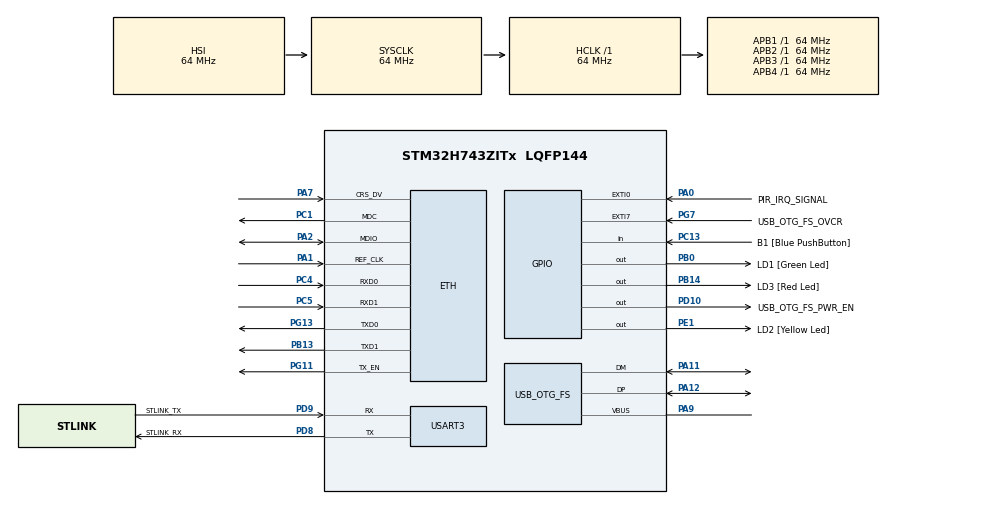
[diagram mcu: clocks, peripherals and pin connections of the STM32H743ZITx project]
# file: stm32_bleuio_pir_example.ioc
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ETH.MediaInterface=HAL_ETH_RMII_MODE
Mcu.Family=STM32H7
Mcu.Name=STM32H743ZITx
Mcu.Package=LQFP144
NVIC.EXTI0_IRQn=true\:0\:0\:false\:false\:true\:true\:true\:true
NVIC.OTG_FS_EP1_IN_IRQn=true\:0\:0\:false\:false\:true\:true\:true\:true
NVIC.OTG_FS_EP1_OUT_IRQn=true\:0\:0\:false\:false\:true\:true\:true\:true
NVIC.OTG_FS_IRQn=true\:0\:0\:false\:false\:true\:true\:true\:true
NVIC.PriorityGroup=NVIC_PRIORITYGROUP_4
NVIC.TIM16_IRQn=true\:0\:0\:false\:false\:true\:true\:true\:true
NVIC.USART3_IRQn=true\:0\:0\:false\:false\:true\:true\:true\:true
PA0.GPIO_Label=PIR_IRQ_SIGNAL
PA0.GPIO_ModeDefaultEXTI=GPIO_MODE_IT_RISING
PA0.GPIO_PuPd=GPIO_PULLDOWN
PA0.Signal=GPXTI0
PA1.Mode=RMII
PA1.Signal=ETH_REF_CLK
PA11.Mode=Host_Only
PA11.Signal=USB_OTG_FS_DM
PA12.Mode=Host_Only
PA12.Signal=USB_OTG_FS_DP
PA2.Mode=RMII
PA2.Signal=ETH_MDIO
PA7.Mode=RMII
PA7.Signal=ETH_CRS_DV
PA8.Signal=USB_OTG_FS_SOF
PA9.Mode=Activate_VBUS
PA9.Signal=USB_OTG_FS_VBUS
PB0.GPIO_Label=LD1 [Green Led]
PB0.Signal=GPIO_Output
PB13.Mode=RMII
PB13.Signal=ETH_TXD1
PB14.GPIO_Label=LD3 [Red Led]
PB14.Signal=GPIO_Output
PC1.Mode=RMII
PC1.Signal=ETH_MDC
PC13.GPIO_Label=B1 [Blue PushButton]
PC13.Signal=GPIO_Input
PC14-OSC32_IN\ (OSC32_IN).Mode=LSE-External-Oscillator
PC14-OSC32_IN\ (OSC32_IN).Signal=RCC_OSC32_IN
PC15-OSC32_OUT\ (OSC32_OUT).Mode=LSE-External-Oscillator
PC15-OSC32_OUT\ (OSC32_OUT).Signal=RCC_OSC32_OUT
PC4.Mode=RMII
PC4.Signal=ETH_RXD0
PC5.Mode=RMII
PC5.Signal=ETH_RXD1
PD10.GPIO_Label=USB_OTG_FS_PWR_EN
PD10.Signal=GPIO_Output
PD8.GPIO_Label=STLINK_RX
PD8.Mode=Asynchronous
PD8.Signal=USART3_TX
PD9.GPIO_Label=STLINK_TX
PD9.Mode=Asynchronous
PD9.Signal=USART3_RX
PE1.GPIO_Label=LD2 [Yellow Led]
PE1.Signal=GPIO_Output
PG11.Mode=RMII
PG11.Signal=ETH_TX_EN
PG13.Mode=RMII
PG13.Signal=ETH_TXD0
PG7.GPIO_Label=USB_OTG_FS_OVCR
PG7.Signal=GPXTI7
PH0-OSC_IN\ (PH0).Mode=HSE-External-Clock-Source
PH0-OSC_IN\ (PH0).Signal=RCC_OSC_IN
PH1-OSC_OUT\ (PH1).Signal=RCC_OSC_OUT
ProjectManager.HeapSize=0x200
ProjectManager.StackSize=0x400
ProjectManager.TargetToolchain=STM32CubeIDE
RCC.ADCFreq_Value=16125000
RCC.APB1Freq_Value=64000000
RCC.APB2Freq_Value=64000000
RCC.APB3Freq_Value=64000000
RCC.APB4Freq_Value=64000000
RCC.CortexFreq_Value=64000000
RCC.DIVM1=1
RCC.DIVN1=24
RCC.DIVQ1=4
RCC.HCLKFreq_Value=64000000
RCC.HSE_VALUE=8000000
RCC.PLLFRACN=0
RCC.PWR_Regulator_Voltage_Scale=PWR_REGULATOR_VOLTAGE_SCALE2
RCC.SYSCLKFreq_VALUE=64000000
RCC.USBFreq_Value=48000000
TIM16.AutoReloadPreload=TIM_AUTORELOAD_PRELOAD_ENABLE
TIM16.Period=10000 -1
TIM16.Prescaler=6400 -1
USART3.VirtualMode-Asynchronous=VM_ASYNC
USB_HOST.BSP.number=1
USB_HOST.USBH_HandleTypeDef-CDC_FS=hUsbHostFS
USB_HOST.VirtualModeFS=Cdc
USB_HOST0.BSP.STBoard=false
USB_HOST0.BSP.api=Unknown
USB_HOST0.BSP.instance=PD10
USB_HOST0.BSP.ip=GPIO
USB_HOST0.BSP.mode=Output
USB_HOST0.BSP.name=Drive_VBUS_FS
USB_HOST0.BSP.solution=PD10
USB_OTG_FS.VirtualMode=Host_Only
USB_OTG_FS.phy_itface=HCD_PHY_EMBEDDED
VP_TIM16_VS_ClockSourceINT.Mode=Enable_Timer
VP_USB_HOST_VS_USB_HOST_CDC_FS.Mode=CDC_FS
board=NUCLEO-H743ZI2

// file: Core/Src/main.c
/* USER CODE BEGIN Header */
/**
  ******************************************************************************
  * @file           : main.c
  * @brief          : Main program body
  ******************************************************************************
  * @attention
  *
  * <h2><center>&copy; Copyright (c) 2021 STMicroelectronics.
  * All rights reserved.</center></h2>
  *
  * This software component is licensed by ST under BSD 3-Clause license,
  * the "License"; You may not use this file except in compliance with the
  * License. You may obtain a copy of the License at:
  *                        opensource.org/licenses/BSD-3-Clause
  *
  ******************************************************************************
  */
/* USER CODE END Header */
#include "main.h"
#include "string.h"
#include "usb_host.h"

/* USER CODE BEGIN PTD */
typedef enum {
  UART_RX_0 = 48,
  UART_RX_1,
  UART_RX_2,
  UART_RX_NONE = 0xFF,
}UARTCommandTypeDef;
/* USER CODE END PTD */

/* USER CODE BEGIN PD */
#define RXBUFFERSIZE                     1

#define BLEUIO_NOT_READY_MSG	"\r\nBleuIO not ready yet.\r\n"

// Dongle commands
#define DONGLE_CMD_ATI "ATI\r\n"
#define DONGLE_CMD_AT_ADVSTART "AT+ADVSTART\r\n"
#define DONGLE_CMD_AT_ADVSTOP "AT+ADVSTOP\r\n"
#define DONGLE_CMD_SET_ADV_NAME "AT+ADVRESP=14:09:42:6C:65:75:49:4F:20:50:49:52:20:44:65:74:65:63:74:65:64\r\n"

#define PIR_TIMEOUT_REFRESH		20  // Timeout after PIR triggering before PIR sensor can trigger again
#define ADV_TIMER_REFRESH		25 // How long the advertising will continue. Will refresh every time PIR is triggered.

//  ADV_TIMER_REFRESH should be equal or greater than PIR_TIMEOUT_REFRESH	(ADV_TIMER_REFRESH >= PIR_TIMEOUT_REFRESH)

/* USER CODE END PD */

#if defined ( __ICCARM__ ) /*!< IAR Compiler */

#pragma location=0x30040000
ETH_DMADescTypeDef  DMARxDscrTab[ETH_RX_DESC_CNT]; /* Ethernet Rx DMA Descriptors */
#pragma location=0x30040060
ETH_DMADescTypeDef  DMATxDscrTab[ETH_TX_DESC_CNT]; /* Ethernet Tx DMA Descriptors */
#pragma location=0x30040200
uint8_t Rx_Buff[ETH_RX_DESC_CNT][ETH_MAX_PACKET_SIZE]; /* Ethernet Receive Buffers */

#elif defined ( __CC_ARM )  /* MDK ARM Compiler */

__attribute__((at(0x30040000))) ETH_DMADescTypeDef  DMARxDscrTab[ETH_RX_DESC_CNT]; /* Ethernet Rx DMA Descriptors */
__attribute__((at(0x30040060))) ETH_DMADescTypeDef  DMATxDscrTab[ETH_TX_DESC_CNT]; /* Ethernet Tx DMA Descriptors */
__attribute__((at(0x30040200))) uint8_t Rx_Buff[ETH_RX_DESC_CNT][ETH_MAX_PACKET_SIZE]; /* Ethernet Receive Buffer */

#elif defined ( __GNUC__ ) /* GNU Compiler */

ETH_DMADescTypeDef DMARxDscrTab[ETH_RX_DESC_CNT] __attribute__((section(".RxDecripSection"))); /* Ethernet Rx DMA Descriptors */
ETH_DMADescTypeDef DMATxDscrTab[ETH_TX_DESC_CNT] __attribute__((section(".TxDecripSection")));   /* Ethernet Tx DMA Descriptors */
uint8_t Rx_Buff[ETH_RX_DESC_CNT][ETH_MAX_PACKET_SIZE] __attribute__((section(".RxArraySection"))); /* Ethernet Receive Buffers */

#endif

ETH_TxPacketConfig TxConfig;

ETH_HandleTypeDef heth;

TIM_HandleTypeDef htim16;

UART_HandleTypeDef huart3;

/* USER CODE BEGIN PV */
static char uart_tx_buf[250];
int uart_buf_len;
bool isBleuIOReady;
uint8_t dongle_response[244];
static UARTCommandTypeDef uartStatus;
static uint8_t aRxBuffer[RXBUFFERSIZE];
static int RX_value;

int pirAdvTimer;
int pirActivationTimeout;

bool isAdvertising;
bool isAdvNameSet;
bool pirIRQEnabled;
/* USER CODE END PV */

void SystemClock_Config(void);
static void MX_GPIO_Init(void);
static void MX_ETH_Init(void);
static void MX_USART3_UART_Init(void);
static void MX_TIM16_Init(void);
void MX_USB_HOST_Process(void);

/* USER CODE BEGIN PFP */
void handleUartInput(UARTCommandTypeDef cmd);
void dongle_interpreter(uint8_t * input);
/* USER CODE END PFP */

int main(void)
{

  /* MCU Configuration--------------------------------------------------------*/

  /* Reset of all peripherals, Initializes the Flash interface and the Systick. */
  HAL_Init();

  /* Configure the system clock */
  SystemClock_Config();

  /* Initialize all configured peripherals */
  MX_GPIO_Init();
  MX_ETH_Init();
  MX_USART3_UART_Init();
  MX_USB_HOST_Init();
  MX_TIM16_Init();
  /* USER CODE BEGIN 2 */
  isBleuIOReady = false;
  isAdvertising= false;
  isAdvNameSet= false;
  pirIRQEnabled = true;
  pirAdvTimer = 0;
  pirActivationTimeout = 0;
  uartStatus = UART_RX_NONE;

  // Starts uart recieve interrupt mode
  HAL_UART_Receive_IT(&huart3, (uint8_t *)aRxBuffer, RXBUFFERSIZE);

  // Turns on all LEDs on start up
  HAL_GPIO_WritePin(GPIOB, GPIO_PIN_0, GPIO_PIN_SET);
  HAL_GPIO_WritePin(GPIOE, GPIO_PIN_1, GPIO_PIN_SET);
  HAL_GPIO_WritePin(GPIOB, GPIO_PIN_14, GPIO_PIN_SET);
  HAL_Delay(1000);

  // Turns off all LEDs except Red
  HAL_GPIO_WritePin(GPIOB, GPIO_PIN_0, GPIO_PIN_RESET);
  HAL_GPIO_WritePin(GPIOE, GPIO_PIN_1, GPIO_PIN_RESET);

  // Sends welcome message to uart
  uart_buf_len = sprintf(uart_tx_buf, "\r\nWelcome to STM32 BleuIO PIR Sensor Example!\r\n\r\n\r\nWaiting for BleuIO...");
  HAL_UART_Transmit(&huart3, (uint8_t *)uart_tx_buf, uart_buf_len, HAL_MAX_DELAY);
  HAL_TIM_Base_Start_IT(&htim16);
  /* USER CODE END 2 */

  /* Infinite loop */
  while (1)
  {
    MX_USB_HOST_Process();

    /* USER CODE BEGIN 3 */
    // Simple handler for uart input
    handleUartInput(uartStatus);
//    // Inteprets the dongle data
    dongle_interpreter(dongle_response);

// 	Setting Advertising name
    if(isBleuIOReady && !isAdvNameSet)
    {
    	// Setting name in response data to 'BleuIO PIR Detected'
    	writeToDongle((uint8_t*)DONGLE_CMD_SET_ADV_NAME);
    	HAL_Delay(200);
    	isAdvNameSet = true;
		uart_buf_len = sprintf(uart_tx_buf, "\r\n\r\nDevice name set.\r\nBleuIO will now advertise if PIR detect movement!\r\n\r\n\r\n");
		HAL_UART_Transmit(&huart3, (uint8_t *)uart_tx_buf, uart_buf_len, HAL_MAX_DELAY);
    }

//     Stops advertising if advertising and pirAdvTimer has run out.
    if(isAdvertising && pirAdvTimer < 0)
    {
    	writeToDongle((uint8_t*)DONGLE_CMD_AT_ADVSTOP);
    	HAL_Delay(200);
    	isAdvertising = false;
		uart_buf_len = sprintf(uart_tx_buf, "\r\nNo movement registered for %i seconds. Turning advertising off...\r\n\r\n\r\n", ADV_TIMER_REFRESH - PIR_TIMEOUT_REFRESH);
		HAL_UART_Transmit(&huart3, (uint8_t *)uart_tx_buf, uart_buf_len, HAL_MAX_DELAY);
    }

  }
  /* USER CODE END 3 */
}

void SystemClock_Config(void)
{
  RCC_OscInitTypeDef RCC_OscInitStruct = {0};
  RCC_ClkInitTypeDef RCC_ClkInitStruct = {0};

  /** Supply configuration update enable
  */
  HAL_PWREx_ConfigSupply(PWR_LDO_SUPPLY);
  /** Configure the main internal regulator output voltage
  */
  __HAL_PWR_VOLTAGESCALING_CONFIG(PWR_REGULATOR_VOLTAGE_SCALE2);

  while(!__HAL_PWR_GET_FLAG(PWR_FLAG_VOSRDY)) {}
  /** Initializes the RCC Oscillators according to the specified parameters
  * in the RCC_OscInitTypeDef structure.
  */
  RCC_OscInitStruct.OscillatorType = RCC_OSCILLATORTYPE_HSI|RCC_OSCILLATORTYPE_HSE;
  RCC_OscInitStruct.HSEState = RCC_HSE_BYPASS;
  RCC_OscInitStruct.HSIState = RCC_HSI_DIV1;
  RCC_OscInitStruct.HSICalibrationValue = RCC_HSICALIBRATION_DEFAULT;
  RCC_OscInitStruct.PLL.PLLState = RCC_PLL_ON;
  RCC_OscInitStruct.PLL.PLLSource = RCC_PLLSOURCE_HSE;
  RCC_OscInitStruct.PLL.PLLM = 1;
  RCC_OscInitStruct.PLL.PLLN = 24;
  RCC_OscInitStruct.PLL.PLLP = 2;
  RCC_OscInitStruct.PLL.PLLQ = 4;
  RCC_OscInitStruct.PLL.PLLR = 2;
  RCC_OscInitStruct.PLL.PLLRGE = RCC_PLL1VCIRANGE_3;
  RCC_OscInitStruct.PLL.PLLVCOSEL = RCC_PLL1VCOWIDE;
  RCC_OscInitStruct.PLL.PLLFRACN = 0;
  if (HAL_RCC_OscConfig(&RCC_OscInitStruct) != HAL_OK)
  {
    Error_Handler();
  }
  /** Initializes the CPU, AHB and APB buses clocks
  */
  RCC_ClkInitStruct.ClockType = RCC_CLOCKTYPE_HCLK|RCC_CLOCKTYPE_SYSCLK
                              |RCC_CLOCKTYPE_PCLK1|RCC_CLOCKTYPE_PCLK2
                              |RCC_CLOCKTYPE_D3PCLK1|RCC_CLOCKTYPE_D1PCLK1;
  RCC_ClkInitStruct.SYSCLKSource = RCC_SYSCLKSOURCE_HSI;
  RCC_ClkInitStruct.SYSCLKDivider = RCC_SYSCLK_DIV1;
  RCC_ClkInitStruct.AHBCLKDivider = RCC_HCLK_DIV1;
  RCC_ClkInitStruct.APB3CLKDivider = RCC_APB3_DIV1;
  RCC_ClkInitStruct.APB1CLKDivider = RCC_APB1_DIV1;
  RCC_ClkInitStruct.APB2CLKDivider = RCC_APB2_DIV1;
  RCC_ClkInitStruct.APB4CLKDivider = RCC_APB4_DIV1;

  if (HAL_RCC_ClockConfig(&RCC_ClkInitStruct, FLASH_LATENCY_1) != HAL_OK)
  {
    Error_Handler();
  }
}

static void MX_ETH_Init(void)
{

   static uint8_t MACAddr[6];

  heth.Instance = ETH;
  MACAddr[0] = 0x00;
  MACAddr[1] = 0x80;
  MACAddr[2] = 0xE1;
  MACAddr[3] = 0x00;
  MACAddr[4] = 0x00;
  MACAddr[5] = 0x00;
  heth.Init.MACAddr = &MACAddr[0];
  heth.Init.MediaInterface = HAL_ETH_RMII_MODE;
  heth.Init.TxDesc = DMATxDscrTab;
  heth.Init.RxDesc = DMARxDscrTab;
  heth.Init.RxBuffLen = 1524;

  if (HAL_ETH_Init(&heth) != HAL_OK)
  {
    Error_Handler();
  }

  memset(&TxConfig, 0 , sizeof(ETH_TxPacketConfig));
  TxConfig.Attributes = ETH_TX_PACKETS_FEATURES_CSUM | ETH_TX_PACKETS_FEATURES_CRCPAD;
  TxConfig.ChecksumCtrl = ETH_CHECKSUM_IPHDR_PAYLOAD_INSERT_PHDR_CALC;
  TxConfig.CRCPadCtrl = ETH_CRC_PAD_INSERT;

}

static void MX_TIM16_Init(void)
{

  htim16.Instance = TIM16;
  htim16.Init.Prescaler = 6400 -1;
  htim16.Init.CounterMode = TIM_COUNTERMODE_UP;
  htim16.Init.Period = 10000 -1;
  htim16.Init.ClockDivision = TIM_CLOCKDIVISION_DIV1;
  htim16.Init.RepetitionCounter = 0;
  htim16.Init.AutoReloadPreload = TIM_AUTORELOAD_PRELOAD_ENABLE;
  if (HAL_TIM_Base_Init(&htim16) != HAL_OK)
  {
    Error_Handler();
  }

}

static void MX_USART3_UART_Init(void)
{

  huart3.Instance = USART3;
  huart3.Init.BaudRate = 115200;
  huart3.Init.WordLength = UART_WORDLENGTH_8B;
  huart3.Init.StopBits = UART_STOPBITS_1;
  huart3.Init.Parity = UART_PARITY_NONE;
  huart3.Init.Mode = UART_MODE_TX_RX;
  huart3.Init.HwFlowCtl = UART_HWCONTROL_NONE;
  huart3.Init.OverSampling = UART_OVERSAMPLING_16;
  huart3.Init.OneBitSampling = UART_ONE_BIT_SAMPLE_DISABLE;
  huart3.Init.ClockPrescaler = UART_PRESCALER_DIV1;
  huart3.AdvancedInit.AdvFeatureInit = UART_ADVFEATURE_NO_INIT;
  if (HAL_UART_Init(&huart3) != HAL_OK)
  {
    Error_Handler();
  }
  if (HAL_UARTEx_SetTxFifoThreshold(&huart3, UART_TXFIFO_THRESHOLD_1_8) != HAL_OK)
  {
    Error_Handler();
  }
  if (HAL_UARTEx_SetRxFifoThreshold(&huart3, UART_RXFIFO_THRESHOLD_1_8) != HAL_OK)
  {
    Error_Handler();
  }
  if (HAL_UARTEx_DisableFifoMode(&huart3) != HAL_OK)
  {
    Error_Handler();
  }

}

static void MX_GPIO_Init(void)
{
  GPIO_InitTypeDef GPIO_InitStruct = {0};

  /* GPIO Ports Clock Enable */
  __HAL_RCC_GPIOC_CLK_ENABLE();
  __HAL_RCC_GPIOH_CLK_ENABLE();
  __HAL_RCC_GPIOA_CLK_ENABLE();
  __HAL_RCC_GPIOB_CLK_ENABLE();
  __HAL_RCC_GPIOD_CLK_ENABLE();
  __HAL_RCC_GPIOG_CLK_ENABLE();
  __HAL_RCC_GPIOE_CLK_ENABLE();

  /*Configure GPIO pin Output Level */
  HAL_GPIO_WritePin(GPIOB, LD1_Pin|LD3_Pin, GPIO_PIN_RESET);

  /*Configure GPIO pin Output Level */
  HAL_GPIO_WritePin(USB_OTG_FS_PWR_EN_GPIO_Port, USB_OTG_FS_PWR_EN_Pin, GPIO_PIN_RESET);

  /*Configure GPIO pin Output Level */
  HAL_GPIO_WritePin(LD2_GPIO_Port, LD2_Pin, GPIO_PIN_RESET);

  /*Configure GPIO pin : B1_Pin */
  GPIO_InitStruct.Pin = B1_Pin;
  GPIO_InitStruct.Mode = GPIO_MODE_INPUT;
  GPIO_InitStruct.Pull = GPIO_NOPULL;
  HAL_GPIO_Init(B1_GPIO_Port, &GPIO_InitStruct);

  /*Configure GPIO pin : PIR_IRQ_SIGNAL_Pin */
  GPIO_InitStruct.Pin = PIR_IRQ_SIGNAL_Pin;
  GPIO_InitStruct.Mode = GPIO_MODE_IT_RISING;
  GPIO_InitStruct.Pull = GPIO_PULLDOWN;
  HAL_GPIO_Init(PIR_IRQ_SIGNAL_GPIO_Port, &GPIO_InitStruct);

  /*Configure GPIO pins : LD1_Pin LD3_Pin */
  GPIO_InitStruct.Pin = LD1_Pin|LD3_Pin;
  GPIO_InitStruct.Mode = GPIO_MODE_OUTPUT_PP;
  GPIO_InitStruct.Pull = GPIO_NOPULL;
  GPIO_InitStruct.Speed = GPIO_SPEED_FREQ_LOW;
  HAL_GPIO_Init(GPIOB, &GPIO_InitStruct);

  /*Configure GPIO pin : USB_OTG_FS_PWR_EN_Pin */
  GPIO_InitStruct.Pin = USB_OTG_FS_PWR_EN_Pin;
  GPIO_InitStruct.Mode = GPIO_MODE_OUTPUT_PP;
  GPIO_InitStruct.Pull = GPIO_NOPULL;
  GPIO_InitStruct.Speed = GPIO_SPEED_FREQ_LOW;
  HAL_GPIO_Init(USB_OTG_FS_PWR_EN_GPIO_Port, &GPIO_InitStruct);

  /*Configure GPIO pin : USB_OTG_FS_OVCR_Pin */
  GPIO_InitStruct.Pin = USB_OTG_FS_OVCR_Pin;
  GPIO_InitStruct.Mode = GPIO_MODE_IT_RISING;
  GPIO_InitStruct.Pull = GPIO_NOPULL;
  HAL_GPIO_Init(USB_OTG_FS_OVCR_GPIO_Port, &GPIO_InitStruct);

  /*Configure GPIO pin : LD2_Pin */
  GPIO_InitStruct.Pin = LD2_Pin;
  GPIO_InitStruct.Mode = GPIO_MODE_OUTPUT_PP;
  GPIO_InitStruct.Pull = GPIO_NOPULL;
  GPIO_InitStruct.Speed = GPIO_SPEED_FREQ_LOW;
  HAL_GPIO_Init(LD2_GPIO_Port, &GPIO_InitStruct);

  /* EXTI interrupt init*/
  HAL_NVIC_SetPriority(EXTI0_IRQn, 0, 0);
  HAL_NVIC_EnableIRQ(EXTI0_IRQn);

}

/* USER CODE BEGIN 4 */
void HAL_UART_RxCpltCallback(UART_HandleTypeDef *UartHandle)
{
	if(UartHandle == &huart3)
	{
		RX_value = (int)aRxBuffer[0];
		uartStatus = UART_RX_NONE;

		switch(RX_value)
		{
			case UART_RX_0:
			{
				uartStatus = UART_RX_0;
				break;
			}
			case UART_RX_1:
			{
				uartStatus = UART_RX_1;
				break;
			}
			case UART_RX_2:
			{
				uartStatus = UART_RX_2;
				break;
			}
			default:
			{
				uartStatus = UART_RX_NONE;
				break;
			}
		}
		// Resets uart recieve interrupt mode
		HAL_UART_Receive_IT(&huart3, (uint8_t *)aRxBuffer, RXBUFFERSIZE);
	}
}

void HAL_GPIO_EXTI_Callback(uint16_t GPIO_Pin)
{
	// If The INT Source Is  and both isBleuIOReady and isAdvNameSet is true continue
	// Here we check if the source of the interrupt is our PIR sensor (EXTI0 (A0 Pin)), we also make sure that the dongle is ready
    if((GPIO_Pin == PIR_IRQ_SIGNAL_Pin) && isBleuIOReady && isAdvNameSet)
    {
    	// To ensure the PIR sensor doesn't trigger constantly we put a timeout period before it can trigger again.
    	if(pirActivationTimeout < 0)
    	{
			pirActivationTimeout = PIR_TIMEOUT_REFRESH;

			pirAdvTimer = ADV_TIMER_REFRESH;

			HAL_GPIO_TogglePin(GPIOE, GPIO_PIN_1); // Toggle The YELLOW LED
			pirIRQEnabled = false;
			uart_buf_len = sprintf(uart_tx_buf, "\r\nMovement registered! %s\r\n\r\n\r\n", isAdvertising ? "" : "Turning on advertising...");
			HAL_UART_Transmit(&huart3, (uint8_t *)uart_tx_buf, uart_buf_len, HAL_MAX_DELAY);
			if(!isAdvertising)
			{
				writeToDongle((uint8_t*)DONGLE_CMD_AT_ADVSTART);
				isAdvertising = true;
			}
    	}
    }
}

void HAL_TIM_PeriodElapsedCallback(TIM_HandleTypeDef *htim)
{

	if(htim == &htim16)
	{
		pirAdvTimer--;
		pirActivationTimeout--;
	}
}

/**
  * @brief Simple uart input handler
  * @retval None
  */
void handleUartInput(UARTCommandTypeDef cmd)
{
	switch(cmd)
	{
		case UART_RX_0:
		{
			// 0

			// Example of how to use UART to input commands to dongle.
			// For response must uncomment line in usb_host.c to allow dongle output to be printed to UART.

//			uart_buf_len = sprintf(uart_tx_buf, "\r\n(0 pressed)\r\n");
//			HAL_UART_Transmit(&huart3, (uint8_t *)uart_tx_buf, uart_buf_len, HAL_MAX_DELAY);
//			if(isBleuIOReady)
//			{
//				writeToDongle((uint8_t*)DONGLE_CMD_ATI);
//			} else
//			{
//				uart_buf_len = sprintf(uart_tx_buf, BLEUIO_NOT_READY_MSG);
//				HAL_UART_Transmit(&huart3, (uint8_t *)uart_tx_buf, uart_buf_len, HAL_MAX_DELAY);
//			}

			uartStatus = UART_RX_NONE;
			break;
		}
		case UART_RX_1:
		{
			// 1

			uartStatus = UART_RX_NONE;
			break;
		}
		case UART_RX_2:
		{
			// 2

			uartStatus = UART_RX_NONE;
			break;
		}
		case UART_RX_NONE:
		{
			break;
		}
		default:
		{
			uartStatus = UART_RX_NONE;
			break;
		}
	}
}

/**
  * @brief Simple dongle interpreter
  * @retval None
  */
void dongle_interpreter(uint8_t * input)
{

	// Example of a simple interpreter
//	if(strlen((char *)input) != 0)
//	{
//		if(strstr((char *)input, "\r\nADVERTISING...") != NULL)
//		{
//			// Do something
//		}
//		if(strstr((char *)input, "\r\nADVERTISING STOPPED.") != NULL)
//		{
//			// Do something
//		}
//	}
	memset(&dongle_response, 0, RSP_SIZE);
}
/* USER CODE END 4 */

void Error_Handler(void)
{
  __disable_irq();
  while (1)
  {
  }
}

/************************ (C) COPYRIGHT STMicroelectronics *****END OF FILE****/
